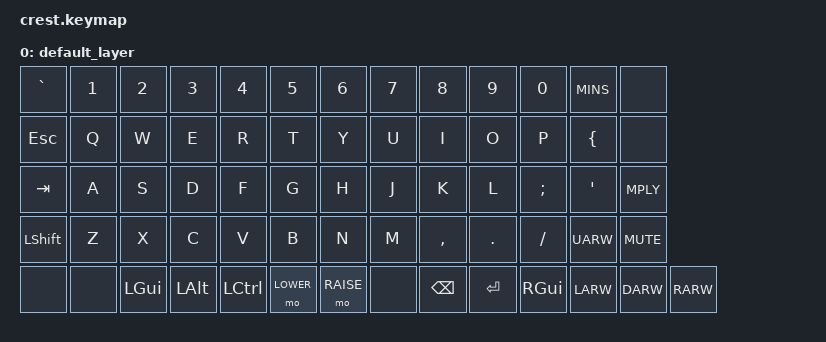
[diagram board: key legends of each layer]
#include <behaviors.dtsi>
#include <dt-bindings/zmk/keys.h>
#include <dt-bindings/zmk/bt.h>
/ {

    keymap {
        compatible = "zmk,keymap";

        default_layer {
// ------------------------------------------------------------------------------------------------------------
// |   `   |  1  |  2  |  3   |  4   |  5   |                   |  6   |  7    |  8    |  9   |   0   |   -   |
// |  ESC  |  Q  |  W  |  E   |  R   |  T   |                   |  Y   |  U    |  I    |  O   |   P   |   [   |
// |  TAB  |  A  |  S  |  D   |  F   |  G   |                   |  H   |  J    |  K    |  L   |   ;   |   '   | media |
// | SHIFT |  Z  |  X  |  C   |  V   |  B   |  MUTE  |  |       |  N   |  M    |  ,    |  .   |   /   | up    | skip  |
//               | GUI | ALT  | CTRL | LOWER|  ENTER |  |       | RAISE| ???   | bksp  | enter| left  | down  | right |
            bindings = <
&kp GRAVE &kp N1 &kp N2   &kp N3   &kp N4    &kp N5                           &kp N6 &kp N7    &kp N8    &kp N9   &kp N0   &kp MINS &none
&kp ESC   &kp Q  &kp W    &kp E    &kp R     &kp T                            &kp Y  &kp U     &kp I     &kp O    &kp P    &kp LBRC &none
&kp TAB   &kp A  &kp S    &kp D    &kp F     &kp G                            &kp H  &kp J     &kp K     &kp L    &kp SEMI &kp APOS &kp MPLY
&kp LSHFT &kp Z  &kp X    &kp C    &kp V     &kp B                            &kp N  &kp M     &kp COMMA &kp DOT  &kp SLASH &kp UARW &kp MUTE
&none     &none  &kp LGUI &kp LALT &kp LCTRL &mo LOWER                        &mo RAISE &none &kp BSPC &kp RET  &kp RGUI &kp LARW &kp DARW &kp RARW 
            >;
        };

    };
};
